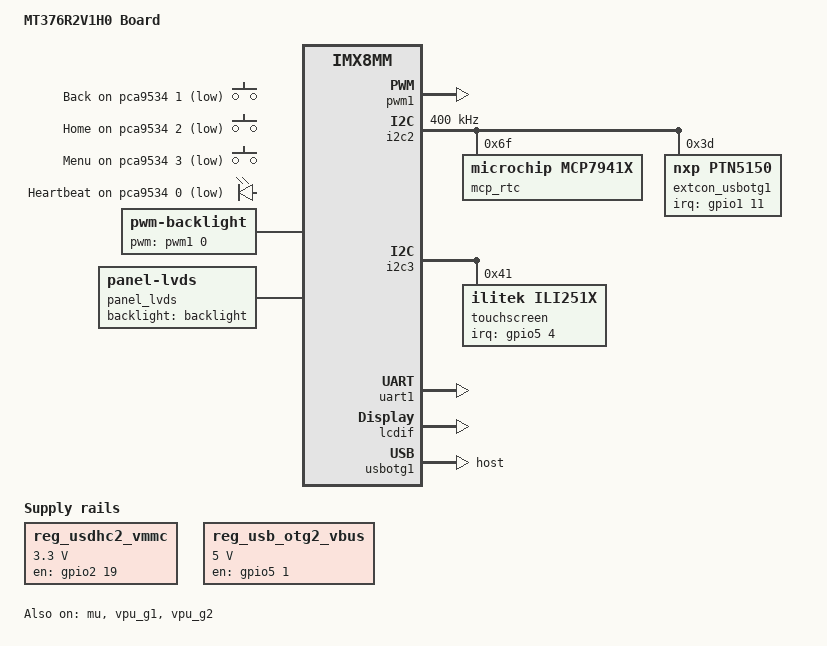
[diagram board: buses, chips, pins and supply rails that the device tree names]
// SPDX-License-Identifier: (GPL-2.0+ OR MIT)
/*
 * Copyright (C) 2020 Krzysztof Kozlowski <krzk@kernel.org>
 */

/dts-v1/;

#include "imx8mm-var-som.dtsi"

/*
 * ATTENTION: M4 may use the followings IPs:
 * ECSPI1, GPIO4, GPT1, I2C4, WDOG1, PWM3, SDMA1/3, UART3
 */
#include "imx8mm-var-m4.dtsi"

/ {
	model = "MT376R2V1H0 Board";
	compatible = "variscite,var-som-mx8mm-symphony", "variscite,var-som-mx8mm", "fsl,imx8mm";

	reg_usdhc2_vmmc: regulator-usdhc2-vmmc {
		compatible = "regulator-fixed";
		pinctrl-names = "default";
		pinctrl-0 = <&pinctrl_reg_usdhc2_vmmc>;
		regulator-name = "VSD_3V3";
		regulator-min-microvolt = <3300000>;
		regulator-max-microvolt = <3300000>;
		gpio = <&gpio2 19 GPIO_ACTIVE_HIGH>;
		enable-active-high;
	};

	reg_usb_otg2_vbus: regulator-usb-otg2-vbus {
		compatible = "regulator-fixed";
		pinctrl-names = "default";
		pinctrl-0 = <&pinctrl_reg_usb_otg2_vbus>;
		regulator-name = "usb_otg2_vbus";
		regulator-min-microvolt = <5000000>;
		regulator-max-microvolt = <5000000>;
		gpio = <&gpio5 1 GPIO_ACTIVE_HIGH>;
		enable-active-high;
	};

	gpio-keys {
		compatible = "gpio-keys";

		key-back {
			label = "Back";
			gpios = <&pca9534 1 GPIO_ACTIVE_LOW>;
			linux,code = <KEY_BACK>;
		};

		key-home {
			label = "Home";
			gpios = <&pca9534 2 GPIO_ACTIVE_LOW>;
			linux,code = <KEY_HOME>;
		};

		key-menu {
			label = "Menu";
			gpios = <&pca9534 3 GPIO_ACTIVE_LOW>;
			linux,code = <KEY_MENU>;
		};
	};

	leds {
		compatible = "gpio-leds";

		led {
			label = "Heartbeat";
			gpios = <&pca9534 0 GPIO_ACTIVE_LOW>;
			linux,default-trigger = "heartbeat";
		};
	};

	backlight: backlight {
		compatible = "pwm-backlight";
		pwms = <&pwm1 0 1000000 0>;
		brightness-levels = < 0  1  2  3  4  5  6  7  8  9
				     10 11 12 13 14 15 16 17 18 19
				     20 21 22 23 24 25 26 27 28 29
				     30 31 32 33 34 35 36 37 38 39
				     40 41 42 43 44 45 46 47 48 49
				     50 51 52 53 54 55 56 57 58 59
				     60 61 62 63 64 65 66 67 68 69
				     70 71 72 73 74 75 76 77 78 79
				     80 81 82 83 84 85 86 87 88 89
				     90 91 92 93 94 95 96 97 98 99
				    100>;
		default-brightness-level = <80>;
		status = "okay";
	};

	panel_lvds: panel-lvds {
		compatible = "panel-lvds";
		data-mapping = "vesa-24";
		width-mm = <154>;
		height-mm = <87>;
		backlight = <&backlight>;

		panel-timing {
			clock-frequency = <36000000>;
			hactive = <800>;
			vactive = <480>;
			hback-porch = <16>;
			hfront-porch = <44>;
			vback-porch = <5>;
			vfront-porch = <43>;
			hsync-len = <2>;
			vsync-len = <2>;
			hsync-active = <0>;
			vsync-active = <0>;
			de-active = <1>;
			pixelclk-active = <0>;
		};
	};
};

&pwm1 {
	pinctrl-names = "default";
	pinctrl-0 = <&pinctrl_pwm1>;
	status = "okay";
};

&ethphy {
	reset-gpios = <&pca9534 5 GPIO_ACTIVE_HIGH>;
};

&i2c2 {
	clock-frequency = <400000>;
	pinctrl-names = "default";
	pinctrl-0 = <&pinctrl_i2c2>;
	status = "okay";

	/* DS1337 RTC module */
	mcp_rtc: rtc@6f {
		compatible = "microchip,mcp7941x";
		reg = <0x6f>;
	};

	pca9534: gpio@20 {
		compatible = "nxp,pca9534";
		reg = <0x20>;
		gpio-controller;
		pinctrl-names = "default";
		pinctrl-0 = <&pinctrl_pca9534>;
		interrupt-parent = <&gpio1>;
		interrupts = <7 IRQ_TYPE_EDGE_FALLING>;
		#gpio-cells = <2>;
		wakeup-source;
		status = "disabled";

		/* USB 3.0 OTG (usbotg1) / SATA port switch, set to USB 3.0 */
		usb3-sata-sel-hog {
			gpio-hog;
			gpios = <4 GPIO_ACTIVE_HIGH>;
			output-low;
			line-name = "usb3_sata_sel";
		};

		som-vselect-hog {
			gpio-hog;
			gpios = <6 GPIO_ACTIVE_HIGH>;
			output-low;
			line-name = "som_vselect";
		};

		enet-sel-hog {
			gpio-hog;
			gpios = <7 GPIO_ACTIVE_HIGH>;
			output-low;
			line-name = "enet_sel";
		};
	};

	extcon_usbotg1: typec@3d {
		compatible = "nxp,ptn5150";
		reg = <0x3d>;
		interrupt-parent = <&gpio1>;
		interrupts = <11 IRQ_TYPE_LEVEL_LOW>;
		pinctrl-names = "default";
		pinctrl-0 = <&pinctrl_ptn5150>;
	};
};

&i2c3 {
	/* Capacitive touch controller */
	touchscreen@41 {
		compatible = "ilitek,ili251x";
		reg = <0x41>;
		interrupt-parent = <&gpio5>;
		interrupts = <4 IRQ_TYPE_LEVEL_LOW>;

		touchscreen-size-x = <800>;
		touchscreen-size-y = <480>;
		
		wakeup-source;
	};
};

/* Header */
&uart1 {
	pinctrl-names = "default";
	pinctrl-0 = <&pinctrl_uart1>;
	status = "okay";
};

/* in use by m4 */
&ecspi1 {
	status = "disabled";
};

/* in use by m4 */
&i2c4 {
	status = "disabled";
};

/* in use by m4 */
&pwm3 {
	status = "disabled";
};

/* Header: in use by m4 */
&uart3 {
	pinctrl-names = "default";
	pinctrl-0 = <&pinctrl_uart3>;
	status = "disabled";
};

&mu {
	status = "okay";
};

&lcdif {
	status = "okay";
};

&vpu_g1 {
	status = "okay";
};

&vpu_g2 {
	status = "okay";
};

&usbotg1 {
	dr_mode = "host";
	disable-over-current;
	extcon = <&extcon_usbotg1>, <&extcon_usbotg1>;
};

&usbotg2 {
	dr_mode = "host";
	vbus-supply = <&reg_usb_otg2_vbus>;
	srp-disable;
	hnp-disable;
	adp-disable;
	disable-over-current;
	/delete-property/ usb-role-switch;
	/*
	 * FIXME: having USB2 enabled hangs the boot just after:
	 * [    1.943365] ci_hdrc ci_hdrc.1: EHCI Host Controller
	 * [    1.948287] ci_hdrc ci_hdrc.1: new USB bus registered, assigned bus number 1
	 * [    1.971006] ci_hdrc ci_hdrc.1: USB 2.0 started, EHCI 1.00
	 * [    1.977203] hub 1-0:1.0: USB hub found
	 * [    1.980987] hub 1-0:1.0: 1 port detected
	 */
	status = "disabled";
};

&pinctrl_fec1 {
	fsl,pins = <
		MX8MM_IOMUXC_ENET_MDC_ENET1_MDC			0x3
		MX8MM_IOMUXC_ENET_MDIO_ENET1_MDIO		0x3
		MX8MM_IOMUXC_ENET_TD3_ENET1_RGMII_TD3		0x1f
		MX8MM_IOMUXC_ENET_TD2_ENET1_RGMII_TD2		0x1f
		MX8MM_IOMUXC_ENET_TD1_ENET1_RGMII_TD1		0x1f
		MX8MM_IOMUXC_ENET_TD0_ENET1_RGMII_TD0		0x1f
		MX8MM_IOMUXC_ENET_RD3_ENET1_RGMII_RD3		0x91
		MX8MM_IOMUXC_ENET_RD2_ENET1_RGMII_RD2		0x91
		MX8MM_IOMUXC_ENET_RD1_ENET1_RGMII_RD1		0x91
		MX8MM_IOMUXC_ENET_RD0_ENET1_RGMII_RD0		0x91
		MX8MM_IOMUXC_ENET_TXC_ENET1_RGMII_TXC		0x1f
		MX8MM_IOMUXC_ENET_RXC_ENET1_RGMII_RXC		0x91
		MX8MM_IOMUXC_ENET_RX_CTL_ENET1_RGMII_RX_CTL	0x91
		MX8MM_IOMUXC_ENET_TX_CTL_ENET1_RGMII_TX_CTL	0x1f
		/* Remove the MX8MM_IOMUXC_GPIO1_IO09_GPIO1_IO9 as not used */
	>;
};

&iomuxc {
	pinctrl_captouch: captouchgrp {
		fsl,pins = <
			MX8MM_IOMUXC_SPDIF_RX_GPIO5_IO4		0x16
		>;
	};

	pinctrl_i2c2: i2c2grp {
		fsl,pins = <
			MX8MM_IOMUXC_I2C2_SCL_I2C2_SCL		0x400001c3
			MX8MM_IOMUXC_I2C2_SDA_I2C2_SDA		0x400001c3
		>;
	};

	pinctrl_pca9534: pca9534grp {
		fsl,pins = <
			MX8MM_IOMUXC_GPIO1_IO07_GPIO1_IO7	0x16
		>;
	};

	pinctrl_ptn5150: ptn5150grp {
		fsl,pins = <
			MX8MM_IOMUXC_GPIO1_IO11_GPIO1_IO11	0x16
		>;
	};

	pinctrl_reg_usb_otg2_vbus: regusbotg2vbusgrp {
		fsl,pins = <
			MX8MM_IOMUXC_SAI3_TXD_GPIO5_IO1		0x16
		>;
	};

	pinctrl_reg_usdhc2_vmmc: regusdhc2vmmcgrp {
		fsl,pins = <
			MX8MM_IOMUXC_SD2_RESET_B_GPIO2_IO19	0x41
		>;
	};

	pinctrl_uart1: uart1grp {
		fsl,pins = <
			MX8MM_IOMUXC_UART1_RXD_UART1_DCE_RX	0x140
			MX8MM_IOMUXC_UART1_TXD_UART1_DCE_TX	0x140
		>;
	};

	pinctrl_uart3: uart3grp {
		fsl,pins = <
			MX8MM_IOMUXC_UART3_RXD_UART3_DCE_RX	0x140
			MX8MM_IOMUXC_UART3_TXD_UART3_DCE_TX	0x140
		>;
	};

	pinctrl_pwm1: pwm1grp {
		fsl,pins = <
			MX8MM_IOMUXC_SPDIF_EXT_CLK_PWM1_OUT		0x06
		>;
	};
};
